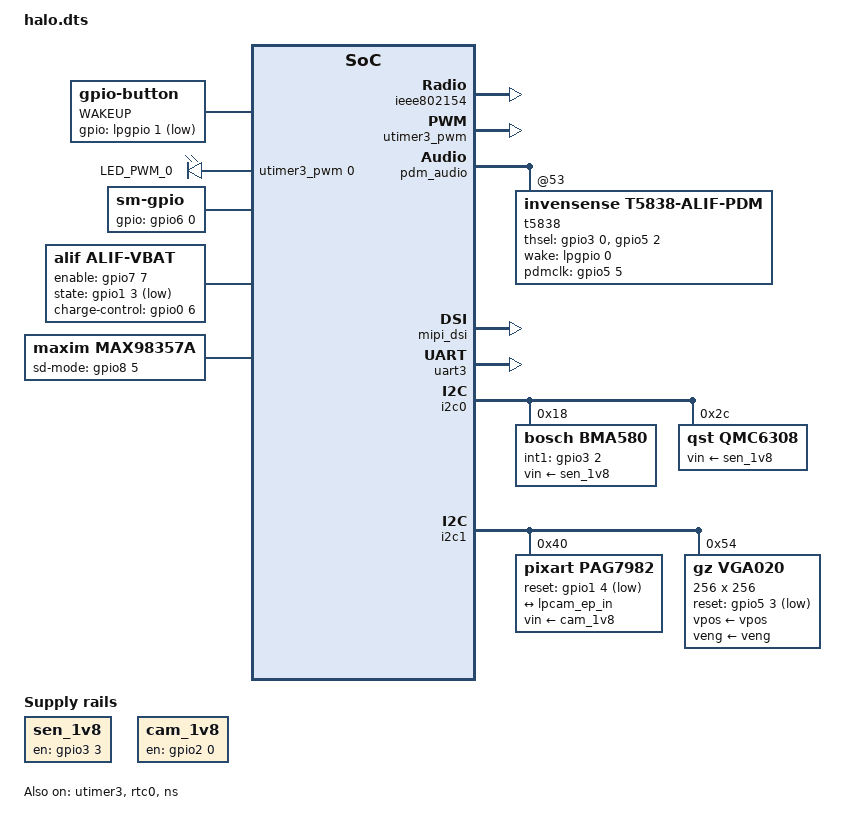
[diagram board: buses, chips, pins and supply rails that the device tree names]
/* Copyright (c) 2024 Alif Semiconductor
 * Copyright (c) 2025 Brilliant Labs
 * SPDX-License-Identifier: Apache-2.0
 */
/dts-v1/;

#include <alif/balletto_rtss_common.dtsi>
#include <alif/balletto-pinctrl.dtsi>

#define	PIN_P4_3__LPCAM_D3_A		PINMUX_PIN(PIN_P4_3, 4)
#define	PIN_P4_4__LPCAM_D4_A		PINMUX_PIN(PIN_P4_4, 5)
#define	PIN_P4_5__LPCAM_D5_A		PINMUX_PIN(PIN_P4_5, 5)
#define	PIN_P4_6__LPCAM_D6_A		PINMUX_PIN(PIN_P4_6, 5)
#define	PIN_P4_7__LPCAM_D7_A		PINMUX_PIN(PIN_P4_7, 4)

/ {
	compatible = "arm,halo";
	#address-cells = <1>;
	#size-cells = <1>;

};

&ieee802154 {
	status = "okay";
};

&utimer3 {
    status = "okay";        
    utimer3_pwm: pwm {
        compatible = "alif,pwm";
        #pwm-cells = <3>;    
		pinctrl-0 = <&pinctrl_pwm_led0>;
   		pinctrl-names = "default";
        status = "okay";   
    };
};

&{/} {
	chosen {
		zephyr,console = &uart3;
		zephyr,shell-uart = &uart3;
		zephyr,bt-uart = &uart_hci;
		zephyr,hci_uart = &uart_hci;
		zephyr,panel = &vga020;
		zephyr,camera = &pag7982;
		zephyr,video = &lpcam;
		zephyr,speaker = &max98357a;
		zephyr,micphone = &pdm_audio;
		zephyr,accel = &bma580;
		zephyr,magn = &qmc6308;
		zephyr,cortex-m-idle-timer = &rtc0;
		zephyr,vbat = &vbat;
	};

	aliases{
		sw0 = &button;
		camera = &pag7982;
		mcuboot-button0 = &button;
		mcuboot-led0 = &led0;
		shutdown = &sm;
	};

    sen_1v8: sen-1v8-ctrl {
        compatible = "regulator-fixed";
        regulator-name = "sen-1v8-ctrl";
        enable-gpios = <&gpio3 3 GPIO_ACTIVE_HIGH>;
		status = "okay";
    };

	cam_1v8: cam-1v8-ctrl {
		compatible = "regulator-fixed";
        regulator-name = "cam-1v8-ctrl";
        enable-gpios = <&gpio2 0 GPIO_ACTIVE_HIGH>;
		regulator-always-on;
		status = "okay";
	};

	button: button {
		compatible = "gpio-button";
		gpios = <&lpgpio 1 GPIO_ACTIVE_LOW>;
		label = "WAKEUP";
		debounce-ms = <30>;
        long-press-ms = <1000 2000 5000>;
        double-click-ms = <400>;
		status = "okay";
	};

	pwmleds: pwmleds {
        compatible = "pwm-leds";  
        led0: led_0 {
            pwms = <&utimer3_pwm 0 PWM_USEC(1000) 1>; 
            label = "LED_PWM_0"; 
        };
    };

	power-states {
		off: off {
			min-residency-us = < 4000 >;
		};
	};

	sm: sm {
        compatible = "sm-gpio";  
        gpios = <&gpio6 0 GPIO_ACTIVE_HIGH>;
    };

	vbat: vbat {
        compatible = "alif,alif-vbat";
		status = "okay";
		enable-gpios = <&gpio7 7 GPIO_ACTIVE_HIGH>;
        adc = <&adc0>;
	    state-gpios = <&gpio1 3 GPIO_ACTIVE_LOW>;
        channel = <4>;
        output-ohms = <1000>;
        full-ohms = <2400>;
        power-up-time-ms = <50>;
        charge-control-gpios = <&gpio0 6 GPIO_ACTIVE_HIGH>;
    };

	soc{

		/delete-node/ i2s0@49014000;
        i2s0: i2s0@49014000 {
            compatible = "alif,i2s-sync";
            reg = <0x49014000 0x1000>;
            pinctrl-names = "default";
            pinctrl-0 = <&pinctrl_i2s0>;
            interrupts = <141 3>;
            bit-depth = <16>;
            sample-rate = <32000>;
            mono-mode;
            status = "okay";
        };

		max98357a: max98357a {
			compatible = "maxim,max98357a";
			i2s = <&i2s0>;
			sd-mode-gpios = <&gpio8 5 GPIO_ACTIVE_HIGH>;
		};

		pdm_audio: pdm_audio@43002000 {
			compatible = "alif,t5838-alif-pdm";
			reg = <0x43002000 0x1000>;
			/* priority 2, above I2S0's 3: the 8-deep PDM FIFO at
			 * 16kHz gives the ISR ~250us from the watermark to
			 * overflow; at priority 4 under duplex load it missed
			 * ~10x/second (732 counted overflows in 72s, EC
			 * 2026-07-13). Bisect-exonerated for the round-2
			 * wedge (that was the unacked sticky ERROR status).
			 */
			interrupts = <49 2>;
			pinctrl-0 = < &pinctrl_pdm_audio >;
			pinctrl-names = "default";
			/* almost-full IRQ threshold on the 8-deep FIFO: slack
			 * to overflow is (8 - watermark) samples = 62.5us
			 * each at 16kHz. 6 left 125us of ISR headroom and
			 * overflowed under duplex BLE+LC3 load (capture
			 * losses that slid the AEC window off its ring);
			 * 4 doubles the headroom for a ~1.3x ISR rate.
			 */
			fifo-watermark = <4>;
			queue-depth = <128>;
			iir-bypass;
			fir-bypass;
			/* Snip the PDM decimator start-of-stream settling
			 * transient (the "pop"): the front-end slews to the
			 * ±full-scale rail for the first ~5-12ms after trigger
			 * (measured on cold-start captures, tests/aec/pop_*.py),
			 * a window with no recoverable audio. In the DMA drain
			 * path the discard drops whole MIC_BLOCK_INTERVAL_MS
			 * (20ms) blocks, so 20 = drop exactly one block, clearing
			 * the rail with margin at ~20ms of startup latency. The
			 * DC-settling tail past the rail is real audio and is
			 * left to the downstream DC blocker (lua_microphone.c
			 * mic_dc_block). The driver default is 0 (was regressed
			 * 50->0 in 15bc6a1, which re-exposed the pop). Do NOT
			 * un-bypass the IIR to fix this - the AEC relies on the
			 * raw full-band mic (see mic_dc_block rationale).
			 */
			discard-duration-ms = <20>;
			/* LPPDM RX DMA drain (prototype): dma2 channel 4,
			 * DMA request line 30 / group 2 = LPPDM_DMA_REQ
			 * (B1 HWRM Table 14-95 + the DMA request MUX table).
			 * The hardware FIFO watermark drives the DMA handshake
			 * (PDM_CTL1 USE_DMA bit), replacing the almost-full ISR
			 * that overflows on >250us CPU blackouts. Drop this
			 * property to fall back to the ISR drain.
			 */
			dmas = <&dma2 4 30>;
			dma-names = "rxdma";
			status = "okay";
            #address-cells = < 0x1 >;
	        #size-cells = < 0x0 >;
			t5838: t5838@53 {
				status = "okay";
				compatible = "invensense,t5838-alif-pdm";
				thsel-gpios = <&gpio3 0 GPIO_ACTIVE_HIGH>, <&gpio5 2 GPIO_ACTIVE_HIGH>;
				wake-gpios = <&lpgpio 0 GPIO_ACTIVE_HIGH>;
				pdmclk-gpios = <&gpio5 5 GPIO_ACTIVE_HIGH>;
			    reg = <0x53>;
			};
		};
		
		cdc200: cdc200@49031000 {
			width = <256>;
			hfront-porch = <16>;
			hback-porch = <48>;
			hsync-len = <96>;

			height = <256>;
			vfront-porch = <16>;
			vback-porch = <26>;
			vsync-len = <3>;

			hsync-active = <1>;
			vsync-active = <1>;
			de-active = <1>;
			pixelclk-active = <1>;

			clock-frequency = <8760000>;
			
			bg-color = <0>;
			enable-l1 = <1>;
			pixel-fmt-l1 = "rgb-888";
			def-back-color-l1 = <0>;
			win-x0-l1 = <0>;
			win-y0-l1 = <0>;
			win-x1-l1 = <256>;
			win-y1-l1 = <256>;
			blend-factor1-l1 = <4>;
			blend-factor2-l1 = <5>;
			const-alpha-l1 = <0xff>;
			enable-l2 = <0>;
			pixel-fmt-l2 = "undefined";
			win-x0-l2 = <0>;
			win-y0-l2 = <0>;
			win-x1-l2 = <0>;
			win-y1-l2 = <0>;
			blend-factor1-l2 = <6>;
			blend-factor2-l2 = <7>;
			const-alpha-l2 = <0xff>;
		};

		dtcm: dtcm@2000a000 {
			compatible = "alif,dtcm", "zephyr,memory-region";
			dtcm_global_base = <0x5880a000>;
			reg = <0x2000a000 DT_SIZE_K(856)>;
			zephyr,memory-region = "DTCM";
		};

		/delete-node/ ns@2002a000;
		ns: ns@200e0000  {
			compatible = "zephyr,memory-region", "mmio-region";
			reg = <0x200e0000  DT_SIZE_K(640)>;
			zephyr,memory-region = "NON_SECURE0";
			status = "okay";
		};

	};
};

ns: &ns {
	status = "okay";
};

&mipi_dsi {
	// dpi-video-pattern-gen = "vertical-color-bar";
	// dpi-video-pattern-gen = "horizontal-color-bar";
	// dpi-video-pattern-gen = "vertical-bit-error-rate";
	/delete-property/ frame-ack-en;  // vga020 not supported
	vid-pkt-size = <240>;
	panel-max-lane-bandwidth = <500000000>;
	status = "okay";
};

&mram_storage {
	/delete-node/ partitions;
	partitions {

		compatible = "fixed-partitions";
		#address-cells = <1>;
		#size-cells = <1>;

		boot_partition: partition@0 {
			label = "mcuboot";
			reg = <0x00000000 DT_SIZE_K(128)>;
			read-only;
		};

		slot0_partition: partition@20000 {
			label = "image-0";
			reg = <0x00020000 DT_SIZE_K(780)>;
		};

		slot1_partition: partition@E3000 {
			label = "image-1";
			reg = <0x000E3000 DT_SIZE_K(780)>;
		};

		scratch_partition: partition@1A6000 {
			label = "image-scratch";
			reg = <0x001A6000 DT_SIZE_K(8)>;
		};

		storage_partition: partition@1A8000 {
			label = "storage";
			reg = <0x001A8000 DT_SIZE_K(128)>;
		};

		reserved_for_se: partition@1C8000 {
			label = "SE-reserved";
			reg = <0x001C8000 DT_SIZE_K(224)>;
		};
	};
};

&pinctrl {
	pinctrl_gpio0:pinctrl_gpio0{
		group0 {
			pinmux =< PIN_P0_2__GPIO >,
					< PIN_P0_3__GPIO >,
					< PIN_P0_4__GPIO >,
					< PIN_P0_5__GPIO >,
					< PIN_P0_6__GPIO >,
					< PIN_P0_7__GPIO >;
			read_enable = < 0x1 >;
		};
	};
	pinctrl_lpgpio:pinctrl_lpgpio {
		group0 {
			pinmux = < PIN_P15_0__LPGPIO >,
				 < PIN_P15_1__LPGPIO >;
			read_enable = < 0x1 >;
		};
		group1{
			pinmux = < PIN_P15_1__LPGPIO >;
			driver_state_control = <0x1>;
		};
		group2{
			pinmux = < PIN_P15_0__LPGPIO >;
			driver_state_control = <0x2>;
			schmitt_enable = <0x0>;
		};
	};
	pinctrl_uart3: pinctrl_uart3 {
		group0 {
			pinmux = < PIN_P8_6__UART3_RX_C >,
			 		 < PIN_P8_7__UART3_TX_C >;
		};
	};
	pinctrl_i2c0: pinctrl_i2c0 {
		group0 {
			pinmux = < PIN_P2_5__I2C0_SDA_B >,
				 < PIN_P2_4__I2C0_SCL_B >;

			read_enable = < 0x1 >;
			driver_state_control = < 0x1 >;
		};
	};
	pinctrl_i2c1: pinctrl_i2c1 {
		group0 {
			pinmux = < PIN_P2_6__I2C1_SDA_B >,
				 < PIN_P2_7__I2C1_SCL_B >;

			read_enable = < 0x1 >;
			driver_state_control = < 0x1 >;
		};
	};
	pinctrl_lpcam: pinctrl_lpcam {
		group0 {
			pinmux = < PIN_P3_4__LPCAM_VSYNC_A >,
				 < PIN_P3_5__LPCAM_HSYNC_A >,
				 < PIN_P3_6__LPCAM_PCLK_A >,
				 < PIN_P3_7__LPCAM_XVCLK_A >,
				 < PIN_P4_0__LPCAM_D0_A >,
				 < PIN_P4_1__LPCAM_D1_A >,
				 < PIN_P4_2__LPCAM_D2_A >,
				 < PIN_P4_3__LPCAM_D3_A >,
				 < PIN_P4_4__LPCAM_D4_A >,
				 < PIN_P4_5__LPCAM_D5_A >,
				 < PIN_P4_6__LPCAM_D6_A >,
				 < PIN_P4_7__LPCAM_D7_A >;
		};
	};
	pinctrl_adc0:pinctrl_adc0 {
		group0 {
			pinmux = <PIN_P0_4__ANA_S4>;
			read_enable = < 0x1 >;
		};
	};
	pinctrl_ospi0: pinctrl_ospi0{
        group0 {
            pinmux = //< PIN_P6_0__OSPI0_D0_C >,
                < PIN_P6_1__OSPI0_D1_C >,
                < PIN_P6_2__OSPI0_D2_C >,
                < PIN_P6_3__OSPI0_D3_C >,
                < PIN_P7_0__OSPI0_SCLK_C >;
            read_enable = <0x1>;
            drive_strength = <12>;
            slew_rate = <0x1>;
        };
    };
	pinctrl_pdm_audio: pinctrl_pdm_audio{
		group0 {
			pinmux = < PIN_P5_5__LPPDM_C1_C >,
			< PIN_P5_7__LPPDM_D1_C >;
			read_enable = < 0x1 >;
		};
	};
	pinctrl_pwm_led0: pinctrl_pwm_led0 {
		group0 {
			pinmux = < PIN_P6_6__UT3_T0_B >;
			drive-strength = <10>;
			read_enable = < 0x0 >;
		}; 
    };
	pinctrl_i2s0:pinctrl_i2s0 {
		group0 {
			pinmux = < PIN_P1_4__I2S0_SDI_A >,
				 < PIN_P1_5__I2S0_SDO_A >,
				 < PIN_P1_6__I2S0_SCLK_A >,
				 < PIN_P1_7__I2S0_WS_A >;
		};
	};
};

&gpio0 {
	pinctrl-0 = < &pinctrl_gpio0 >;
	pinctrl-names = "default";
};

&gpio1 {
	pinctrl-0 = < &pinctrl_gpio1 >;
	pinctrl-names = "default";
};

&gpio6 {
	status = "okay";
};

&uart3 {
	status = "okay";
};

&rtc0 {
	prescaler = < 0 >;
	status = "okay";
};

&dma2 {
	status = "okay";
	/* Channels 0-3 serve the HCI + AHI UARTs (below). Channel 4 is added
	 * for the LPPDM RX DMA drain (see the pdm_audio node): the PL330's
	 * per-channel completion IRQ line index == channel number, so adding
	 * channel 4 needs interrupt line 4. Abort stays on 32.
	 */
	dma-channels = <5>;
	interrupts = <0 0>, <1 0>, <2 0>, <3 0>, <4 0>, <32 0>;
	interrupt-names = "channel0", "channel1", "channel2",
			  "channel3", "channel4", "abort";
};

&uart_hci {
	clock-frequency = <160000000>;
	dmas = <&dma2 HCI_UART_DMA_RX_CH HCI_UART_DMA_RX_REQ>,
	       <&dma2 HCI_UART_DMA_TX_CH HCI_UART_DMA_TX_REQ>;
	dma-names = "rx", "tx";
};

&uart_ahi {
	clock-frequency = <160000000>;
	pinctrl-0 = < &pinctrl_ahi_trace >;
	pinctrl-names = "default";
	dmas = <&dma2 AHI_UART_DMA_RX_CH AHI_UART_DMA_RX_REQ>,
	       <&dma2 AHI_UART_DMA_TX_CH AHI_UART_DMA_TX_REQ>;
	dma-names = "rx", "tx";
};

&i2c0 {
	status = "okay";
    
	 bma580: bma580@18 {
        compatible = "bosch,bma580";
		vin-supply = <&sen_1v8>;
		int1-gpios = <&gpio3 2 GPIO_ACTIVE_HIGH>;
		// int2-gpios = <&lpgpio 0 GPIO_ACTIVE_HIGH>; // wake up interrupt
		int1-config = <0x0B>; // long pluse, push-pull, activate high
		int2-config = <0x0F>; // long pluse, open-drain, activate high
        reg = <0x18>;
        range = <2>;
        odr = "200";
        status = "okay";
    };

    qmc6308: qmc6308@2c {
        compatible = "qst,qmc6308";
		vin-supply = <&sen_1v8>;
        reg = <0x2c>;
        status = "okay";
    };

};

&i2c1 {
	status = "okay";
	pag7982: pag7982@40{
		compatible = "pixart,pag7982";
		reg = <0x40>;
		vin-supply = <&cam_1v8>;
		reset-gpios = <&gpio1 4 GPIO_ACTIVE_LOW>;
		pixclk = <24000000>; // PCLK 24M
		frame-rate = <1>; // 1fps
		port {
			pag7982_ep_out: endpoint {
				remote-endpoint = < &lpcam_ep_in >;
			};
		};
	};     

	tps65132: tps65132@3e {
		compatible = "ti,tps65132";
		reg = <0x3e>;
		vin-supply = <&cam_1v8>;
		supply-gpios = <&gpio2 1 GPIO_ACTIVE_HIGH>;
		apps = "40ma";
		
		veng: VENG {
			regulator-name = "veng";
			regulator-init-microvolt = <4500000>;
			enable-gpios = <&gpio5 6 GPIO_ACTIVE_HIGH>;
			startup-delay-us = <5000>;
			status = "okay";

		};

		vpos: VPOS {
			regulator-name = "vpos";
			regulator-init-microvolt = <5500000>;
			enable-gpios = <&gpio7 5 GPIO_ACTIVE_HIGH>;
			startup-delay-us = <5000>;
			status = "okay";
		};
		status = "disabled";
	};             

	vga020: vga020@54 {
		compatible = "gz,vga020";
		mipi = <&mipi_dsi>;
      	reg = <0x54>;
		vpos-supply = <&vpos>;
    	veng-supply = <&veng>;
		reset-gpios = <&gpio5 3 GPIO_ACTIVE_LOW>;
      	width = <256>;
      	height = <256>;
		status = "okay";
    };      
};


&lpcam {
	sensor = <&pag7982>;
	lp-cam;
	inv-hsync-pol = <1>;
	inv-vsync-pol = <1>;
	data-mode = "8-bit";
	vsync-en;
	port {
		lpcam_ep_in: endpoint {
			remote-endpoint = <&pag7982_ep_out>;
		};
	};
};

&i2s0 {
	status = "disabled";
};

&i2s1 {
	status = "disabled";
};

&i2s2{
	status = "disabled";
};

